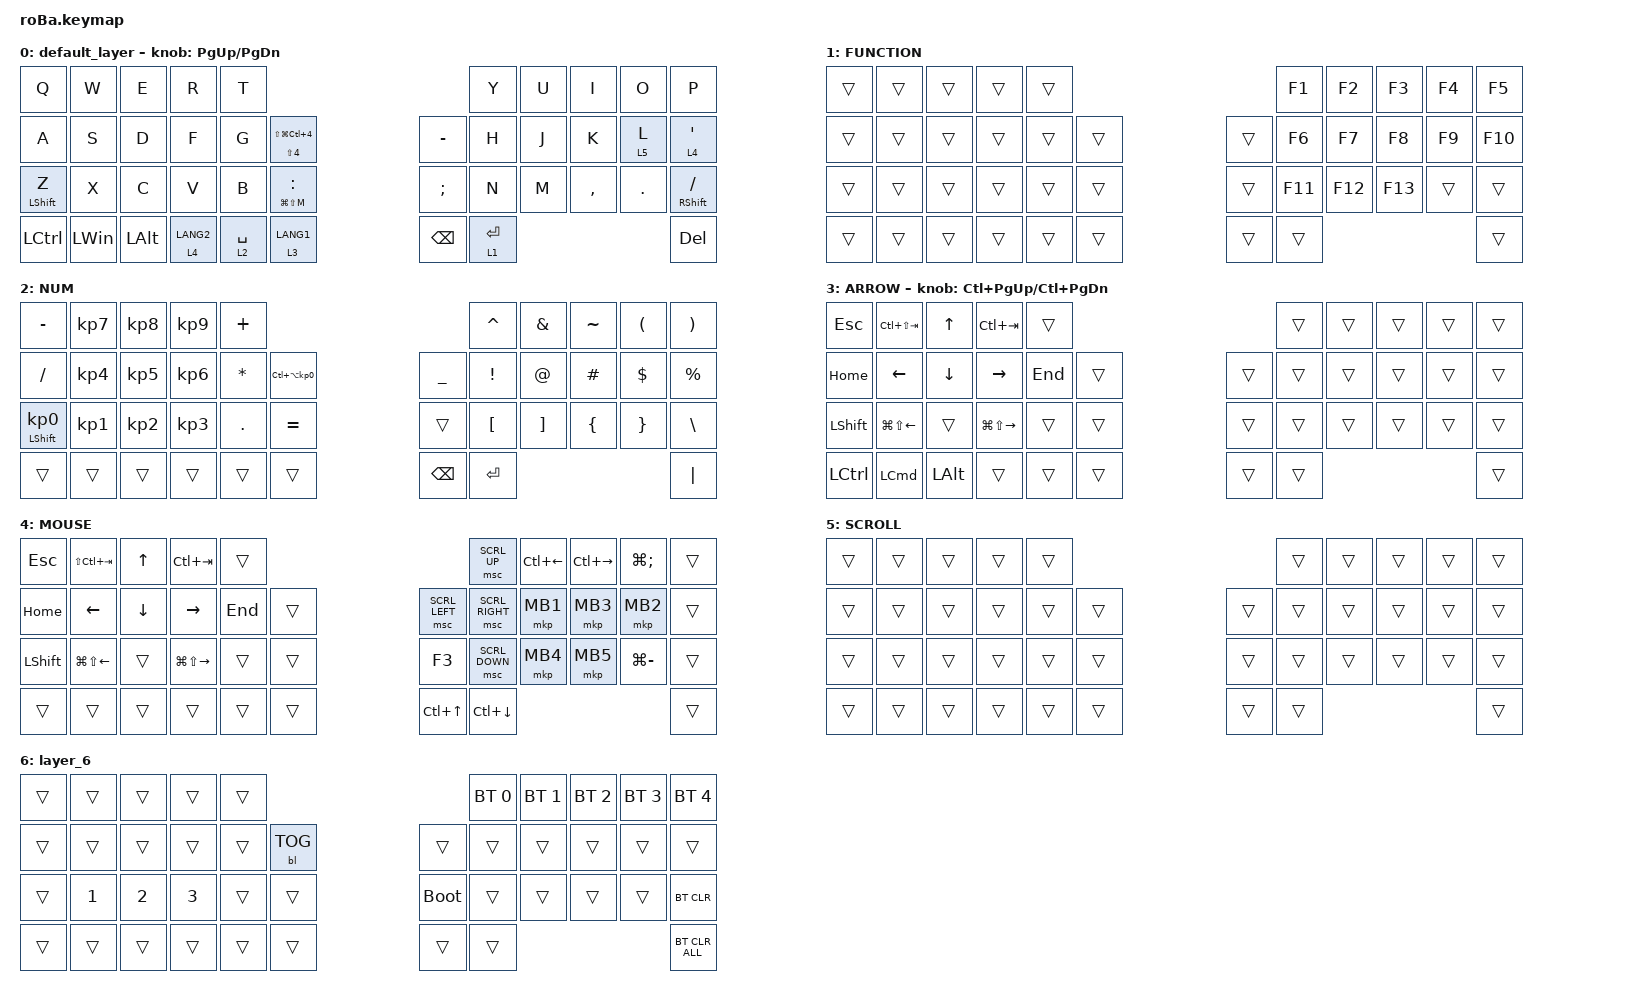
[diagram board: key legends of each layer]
#include <behaviors.dtsi>
#include <dt-bindings/zmk/backlight.h>
#include <dt-bindings/zmk/bt.h>
#include <dt-bindings/zmk/keys.h>
#include <dt-bindings/zmk/pointing.h>

&mt {
    flavor = "balanced";
    quick-tap-ms = <0>;
};

&trackball {
    //automouse-layer = <4>;

    scroll-layers = <5>;

    // arrows {
    //     layers = <3>;
    //     bindings =
    //         <&kp RIGHT_ARROW>,
    //         <&kp LEFT_ARROW>,
    //         <&kp UP_ARROW>,
    //         <&kp DOWN_ARROW>;
    //     tick = <10>;
    //     wait-ms = <5>;
    //     tap-ms = <5>;
    // };
};

/ {
    combos {
        compatible = "zmk,combos";

        tab {
            bindings = <&kp TAB>;
            key-positions = <11 12>;
        };

        shift_tab {
            bindings = <&kp LS(TAB)>;
            key-positions = <12 13>;
        };

        muhennkann {
            bindings = <&to_layer_0 INT_MUHENKAN>;
            key-positions = <11 10>;
        };

        double_quotation {
            bindings = <&kp DOUBLE_QUOTES>;
            key-positions = <20 21>;
        };

        eq {
            bindings = <&kp EQUAL>;
            key-positions = <24 25>;
        };

        Layer_6 {
            bindings = <&lt 6 A>;
            key-positions = <38 39 37>;
        };
    };

    macros {
        to_layer_0: to_layer_0 {
            compatible = "zmk,behavior-macro-one-param";
            #binding-cells = <1>;
            bindings = <&to 0 &macro_param_1to1 &kp MACRO_PLACEHOLDER>;
            label = "TO_LAYER_0";
        };
    };

    behaviors {
        lt_to_layer_0: lt_to_layer_0 {
            compatible = "zmk,behavior-hold-tap";
            label = "LAYER_TAP_TO_0";
            bindings = <&mo>, <&to_layer_0>;

            #binding-cells = <2>;
            tapping-term-ms = <250>;
        };
    };

    keymap {
        compatible = "zmk,keymap";

        default_layer {
            bindings = <
&kp Q             &kp W         &kp E         &kp R                   &kp T                                                                  &kp Y        &kp U  &kp I      &kp O    &kp P
&kp A             &kp S         &kp D         &kp F                   &kp G        &mt LS(NUMBER_4) LS(LG(LC(NUMBER_4)))      &kp MINUS      &kp H        &kp J  &kp K      &lt 5 L  &lt 4 SQT
&mt LEFT_SHIFT Z  &kp X         &kp C         &kp V                   &kp B        &mt LG(LS(M)) COLON                        &kp SEMICOLON  &kp N        &kp M  &kp COMMA  &kp DOT  &mt RIGHT_SHIFT SLASH
&kp LCTRL         &kp LEFT_WIN  &kp LEFT_ALT  &lt_to_layer_0 4 LANG2  &lt 2 SPACE  &lt_to_layer_0 3 LANG1                     &kp BACKSPACE  &lt 1 ENTER                             &kp DEL
            >;

            sensor-bindings = <&inc_dec_kp PG_UP PAGE_DOWN>;
        };

        FUNCTION {
            bindings = <
&trans  &trans  &trans  &trans  &trans                      &kp F1   &kp F2   &kp F3   &kp F4  &kp F5
&trans  &trans  &trans  &trans  &trans  &trans      &trans  &kp F6   &kp F7   &kp F8   &kp F9  &kp F10
&trans  &trans  &trans  &trans  &trans  &trans      &trans  &kp F11  &kp F12  &kp F13  &trans  &trans
&trans  &trans  &trans  &trans  &trans  &trans      &trans  &trans                             &trans
            >;
        };

        NUM {
            bindings = <
&kp MINUS                   &kp KP_NUMBER_7  &kp KP_NUMBER_8  &kp KP_NUMBER_9  &kp PLUS                                                   &kp CARET         &kp AMPERSAND      &kp TILDE       &kp LEFT_PARENTHESIS  &kp RIGHT_PARENTHESIS
&kp SLASH                   &kp KP_NUMBER_4  &kp KP_NUMBER_5  &kp KP_NUMBER_6  &kp ASTERISK  &kp LC(LA(KP_NUMBER_0))      &kp UNDERSCORE  &kp EXCLAMATION   &kp AT_SIGN        &kp HASH        &kp DOLLAR            &kp PERCENT
&mt LEFT_SHIFT KP_NUMBER_0  &kp KP_NUMBER_1  &kp KP_NUMBER_2  &kp KP_NUMBER_3  &kp PERIOD    &kp EQUAL                    &trans          &kp LEFT_BRACKET  &kp RIGHT_BRACKET  &kp LEFT_BRACE  &kp RIGHT_BRACE       &kp BACKSLASH
&trans                      &trans           &trans           &trans           &trans        &trans                       &kp BACKSPACE   &kp ENTER                                                                  &kp PIPE
            >;
        };

        ARROW {
            bindings = <
&kp ESCAPE        &kp LC(LS(TAB))         &kp UP_ARROW    &kp LC(TAB)              &trans                       &trans  &trans  &trans  &trans  &trans
&kp HOME          &kp LEFT_ARROW          &kp DOWN_ARROW  &kp RIGHT_ARROW          &kp END  &trans      &trans  &trans  &trans  &trans  &trans  &trans
&kp LEFT_SHIFT    &kp LG(LS(LEFT_ARROW))  &trans          &kp LG(LS(RIGHT_ARROW))  &trans   &trans      &trans  &trans  &trans  &trans  &trans  &trans
&kp LEFT_CONTROL  &kp LEFT_COMMAND        &kp LEFT_ALT    &trans                   &trans   &trans      &trans  &trans                          &trans
            >;

            sensor-bindings = <&inc_dec_kp LC(PAGE_UP) LC(PAGE_DOWN)>;
        };

        MOUSE {
            bindings = <
&kp ESC         &kp LS(LC(TAB))   &kp UP    &kp LC(TAB)        &trans                                 &msc SCRL_UP        &kp LC(LEFT)  &kp LC(RIGHT)  &kp LG(SEMICOLON)  &trans
&kp HOME        &kp LEFT          &kp DOWN  &kp RIGHT          &kp END  &trans      &msc SCRL_LEFT    &msc SCRL_RIGHT     &mkp MB1      &mkp MB3       &mkp MB2           &trans
&kp LEFT_SHIFT  &kp LG(LS(LEFT))  &trans    &kp LG(LS(RIGHT))  &trans   &trans      &kp F3            &msc SCRL_DOWN      &mkp MB4      &mkp MB5       &kp LG(MINUS)      &trans
&trans          &trans            &trans    &trans             &trans   &trans      &kp LC(UP_ARROW)  &kp LC(DOWN_ARROW)                                                  &trans
            >;
        };

        SCROLL {
            bindings = <
&trans  &trans  &trans  &trans  &trans                      &trans  &trans  &trans  &trans  &trans
&trans  &trans  &trans  &trans  &trans  &trans      &trans  &trans  &trans  &trans  &trans  &trans
&trans  &trans  &trans  &trans  &trans  &trans      &trans  &trans  &trans  &trans  &trans  &trans
&trans  &trans  &trans  &trans  &trans  &trans      &trans  &trans                          &trans
            >;
        };

        layer_6 {
            bindings = <
&trans  &trans        &trans        &trans        &trans                               &bt BT_SEL 0  &bt BT_SEL 1  &bt BT_SEL 2  &bt BT_SEL 3  &bt BT_SEL 4
&trans  &trans        &trans        &trans        &trans  &bl BL_TOG      &trans       &trans        &trans        &trans        &trans        &trans
&trans  &kp NUMBER_1  &kp NUMBER_2  &kp NUMBER_3  &trans  &trans          &bootloader  &trans        &trans        &trans        &trans        &bt BT_CLR
&trans  &trans        &trans        &trans        &trans  &trans          &trans       &trans                                                  &bt BT_CLR_ALL
            >;
        };
    };
};
